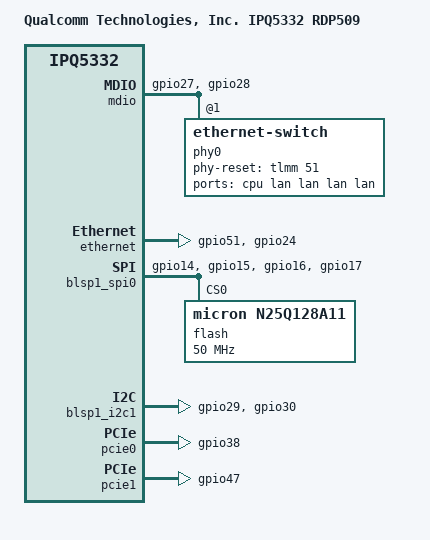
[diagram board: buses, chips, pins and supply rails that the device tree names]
// SPDX-License-Identifier: GPL-2.0-only
/*
 * Copyright (c) Qualcomm Technologies, Inc. and/or its subsidiaries.
 */

/dts-v1/;

#include "ipq5332-rdp442.dts"
#include "ipq5332-rdp-common-ub.dtsi"

/ {
	model = "Qualcomm Technologies, Inc. IPQ5332 RDP509";
	compatible = "qcom,ipq5332-rdp509", "qcom,ipq5332";

	soc@0 {
		mdio: mdio@90000 {
			pinctrl-names = "default";
			pinctrl-0 = <&mdio_pinmux>;
			status = "okay";

			phy0: ethernet-switch@1 {
				phy-reset-gpio = <&tlmm 51 0>;
				dev-mode = <0x1>;
				phy_addr = <1>;
				phy_type = <QCA8x8x_SWITCH_TYPE>;
				id = <1>;
				uniphy_id = <0>;
				uniphy_type = <0>;
				max_speed = <2500>;
				force-speed;
				xgmac;
				ports {
					#address-cells = <1>;
					#size-cells = <0>;

					port0: port@0 {
						phy_addr = <0>;
						label = "cpu";
						phy-mode = "2500base-x";
						fixed-link {
							speed = <2500>;
							full-duplex;
						};
					};

					port1: port@1 {
						phy_addr = <1>;
						label = "lan";
					};

					port2: port@2 {
						phy_addr = <2>;
						label = "lan";
					};

					port3: port@3 {
						phy_addr = <3>;
						label = "lan";
					};

					port4: port@4 {
						phy_addr = <4>;
						label = "lan";
					};
				};
			};
		};

		ethernet: nss-switch {
			pinctrl-names = "default";
			pinctrl-0 = <&phy_rst_pinmux>;
			phy-handle0 = <&phy0>;
			phy-handle1 = <&phy1>;
			status = "okay";

			phy1: phy@ff {
				phy_addr = <0xFF>;
				phy_type = <SFP10G_PHY_TYPE>;
				id = <2>;
				uniphy_id = <1>;
				uniphy_type = <0>;
				max_speed = <10000>;
				xgmac;
			};
		};

	};
};

&blsp1_spi0 {
	pinctrl-0 = <&spi_0_data_clk_pins &spi_0_cs_pins>;
	pinctrl-names = "default";
	status = "okay";

	flash@0 {
		compatible = "micron,n25q128a11", "jedec,spi-nor";
		reg = <0>;
		#address-cells = <1>;
		#size-cells = <1>;
		spi-max-frequency = <50000000>;
	};
};

&tlmm {
	spi_0_data_clk_pins: spi-0-data-clk-state {
		pins = "gpio14", "gpio15", "gpio16";
		function = "blsp0_spi";
		drive-strength = <2>;
		bias-pull-down;
	};

	spi_0_cs_pins: spi-0-cs-state {
		pins = "gpio17";
		function = "blsp0_spi";
		drive-strength = <2>;
		bias-pull-up;
	};

	mdio_pinmux: mdio {
		mdc {
			pins = "gpio27";
			function = "mdc1";
			drive-strength = <8>;
			bias-disable;
		};

		mdio {
			pins = "gpio28";
			function = "mdio1";
			drive-strength = <8>;
			bias-pull-up;
		};
	};

	phy_rst_pinmux: phy_rst {
		qti_8x8x_rst {
			pins = "gpio51";
			drive-strength = <8>;
			bias-pull-up;
		};

		qti_sfp_tx_los {
			pins = "gpio24";
			drive-strength = <8>;
			bias-pull-down;
			output-low;
		};
	};

	blsp1_i2c1_pinmux: blsp1_i2c1_pins {
		blsp1_scl {
			pins = "gpio29";
			function = "blsp1_i2c0";
			drive-strength = <8>;
			bias-pull-up;
		};

		blsp1_sda {
			pins = "gpio30";
			function = "blsp1_i2c0";
			drive-strength = <8>;
			bias-pull-up;
		};
	};

	pcie0_default_state: pcie0-default-state {
		pins = "gpio38";
		function = "gpio";
		drive-strength = <8>;
		bias-pull-up;
		output-low;
	};

	pcie1_default_state: pcie1-default-state {
		pins = "gpio47";
		function = "gpio";
		drive-strength = <8>;
		bias-pull-up;
		output-low;
	};
};

&blsp1_i2c1 {
	pinctrl-names = "default";
	pinctrl-0 = <&blsp1_i2c1_pinmux>;
	status = "okay";
};

&pcie0 {
	pinctrl-0 = <&pcie0_default_state>;
	pinctrl-names = "default";
	perst-gpios = <&tlmm 38 GPIO_ACTIVE_LOW>;
	status = "okay";
};

&pcie1 {
	pinctrl-0 = <&pcie1_default_state>;
	pinctrl-names = "default";
	perst-gpios = <&tlmm 47 GPIO_ACTIVE_LOW>;
	status = "okay";
};
